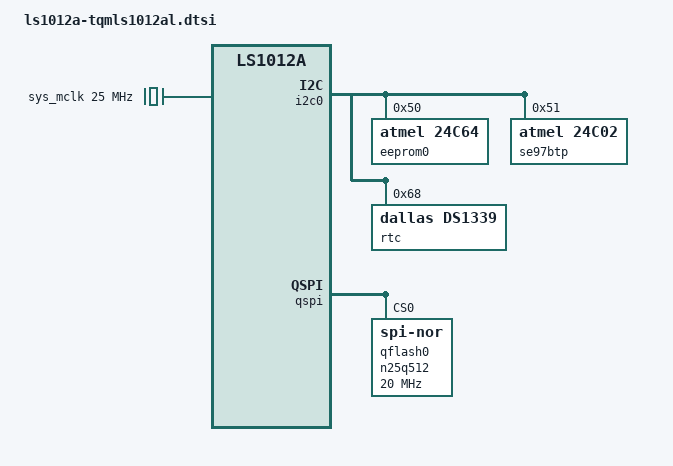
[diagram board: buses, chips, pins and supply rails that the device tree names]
// SPDX-License-Identifier: GPL-2.0
/*
 * Device Tree file for TQ LS1012A MBLS1012AL Board.
 *
 * Copyright 2018 TQ Systems GmbH
 * Max Merchel <Max.Merchel@tq-group.com>
 */

/dts-v1/;

#include "fsl-ls1012a.dtsi"

/ {
	sys_mclk: clock-mclk {
		compatible = "fixed-clock";
		#clock-cells = <0>;
		clock-frequency = <25000000>;
	};
};

&i2c0 {
	status = "okay";

	eeprom0: 24c64@50 {
		compatible = "atmel,24c64";
		reg = <0x50>;
		pagesize = <32>;
		status = "okay";
	};

	se97btp: 24c02@51 {
		compatible = "atmel,24c02";
		pagesize = <16>;
		reg = <0x51>;
	};

	rtc: ds1339@68 {
		compatible = "dallas,ds1339";
		reg = <0x68>;
		interrupts = <43>;
	};
};

&qspi {
	num-cs = <2>;
	bus-num = <0>;
	status = "okay";

	qflash0: n25q512@0 {
		compatible = "jedec,spi-nor";
		#address-cells = <1>;
		#size-cells = <1>;
		spi-max-frequency = <20000000>;
		m25p,fast-read;
		reg = <0>;
	};
};
